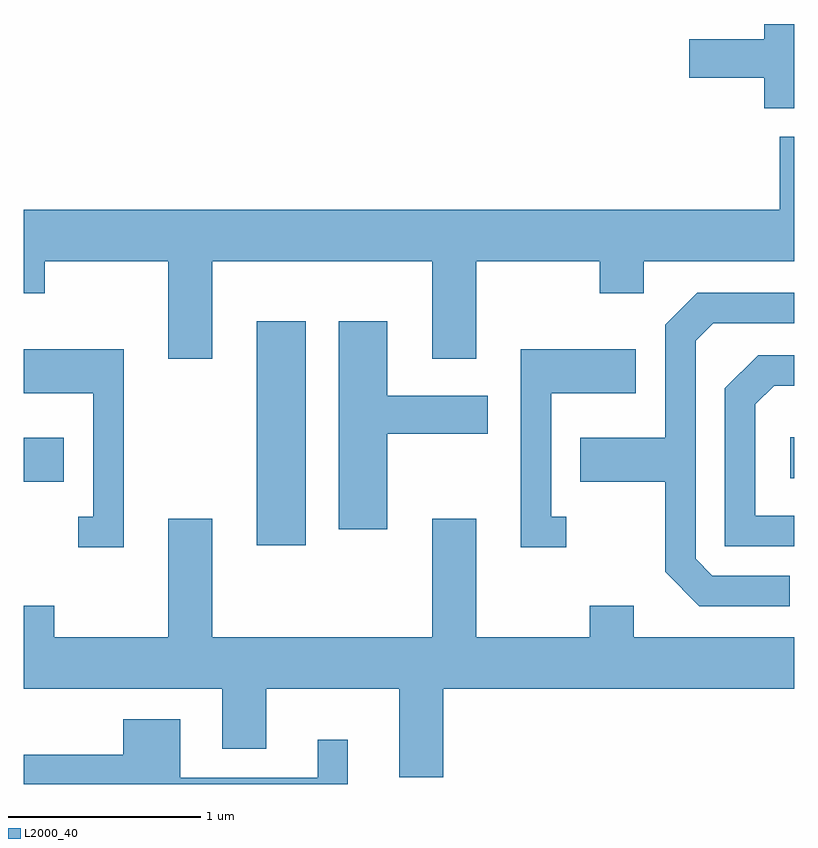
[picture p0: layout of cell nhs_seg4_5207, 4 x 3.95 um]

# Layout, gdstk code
import gdstk
lib = gdstk.Library(unit=1e-6, precision=1e-09)
def R(c, l, rs):  # rectangles x0, y0, x1, y1
    for r in rs: c.add(gdstk.rectangle(r[:2], r[2:], *l))
def P(c, l, *ps):  # polygons
    for p in ps: c.add(gdstk.Polygon(p, *l))
L2000_40 = (2000, 40)

nhs_seg4_5207 = lib.new_cell('nhs_seg4_5207')
R(nhs_seg4_5207, L2000_40, [(338.821,1333.221,339.074,1334.384), (337.611,1333.551,337.819,1333.779), (341.591,1333.571,341.611,1333.784)])
P(nhs_seg4_5207, L2000_40, [(341.611,1335.929),(341.456,1335.929),(341.456,1335.849),(341.066,1335.849),(341.066,1335.651),(341.456,1335.651),(341.456,1335.491),(341.611,1335.491)],
  [(338.589,1334.696),(339.731,1334.696),(339.731,1334.191),(339.959,1334.191),(339.959,1334.696),(340.601,1334.696),(340.601,1334.531),(340.829,1334.531),(340.829,1334.696),(341.611,1334.696),(341.611,1335.343),(341.536,1335.343),(341.536,1334.964),(337.611,1334.964),(337.611,1334.531),(337.719,1334.531),(337.719,1334.696),(338.361,1334.696),(338.361,1334.191),(338.589,1334.191)],
  [(341.588,1333.064),(341.187,1333.064),(341.099,1333.152),(341.099,1334.284),(341.192,1334.376),(341.611,1334.376),(341.611,1334.534),(341.109,1334.534),(340.941,1334.367),(340.941,1333.779),(340.501,1333.779),(340.501,1333.551),(340.941,1333.551),(340.941,1333.084),(341.119,1332.906),(341.588,1332.906)],
  [(339.499,1333.801),(340.019,1333.801),(340.019,1333.999),(339.499,1333.999),(339.499,1334.384),(339.246,1334.384),(339.246,1333.306),(339.499,1333.306)],
  [(340.428,1333.369),(340.349,1333.369),(340.349,1334.011),(340.789,1334.011),(340.789,1334.239),(340.191,1334.239),(340.191,1333.211),(340.428,1333.211)],
  [(338.129,1334.239),(337.611,1334.239),(337.611,1334.011),(337.971,1334.011),(337.971,1333.369),(337.893,1333.369),(337.893,1333.211),(338.129,1333.211)],
  [(341.611,1333.374),(341.409,1333.374),(341.409,1333.954),(341.507,1334.051),(341.611,1334.051),(341.611,1334.209),(341.424,1334.209),(341.251,1334.037),(341.251,1333.216),(341.611,1333.216)],
  [(339.789,1332.476),(341.611,1332.476),(341.611,1332.744),(340.779,1332.744),(340.779,1332.909),(340.551,1332.909),(340.551,1332.744),(339.959,1332.744),(339.959,1333.359),(339.731,1333.359),(339.731,1332.744),(338.589,1332.744),(338.589,1333.359),(338.361,1333.359),(338.361,1332.744),(337.769,1332.744),(337.769,1332.909),(337.611,1332.909),(337.611,1332.476),(338.641,1332.476),(338.641,1332.166),(338.869,1332.166),(338.869,1332.476),(339.561,1332.476),(339.561,1332.016),(339.789,1332.016)],
  [(339.294,1332.213),(339.136,1332.213),(339.136,1332.014),(338.424,1332.014),(338.424,1332.319),(338.126,1332.319),(338.126,1332.134),(337.611,1332.134),(337.611,1331.982),(339.294,1331.982)])

lib.write_gds('nhs_seg4_5207.gds')
